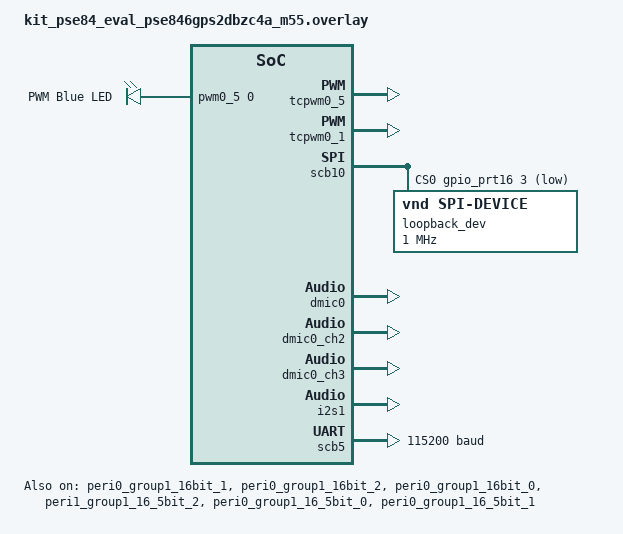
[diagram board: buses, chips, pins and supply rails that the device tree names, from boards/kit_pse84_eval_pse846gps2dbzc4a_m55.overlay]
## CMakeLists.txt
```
# SPDX-FileCopyrightText: Copyright (c) 2026 Infineon Technologies AG,
# SPDX-FileCopyrightText: or an affiliate of Infineon Technologies AG. All rights reserved.
#
# SPDX-License-Identifier: Apache-2.0

cmake_minimum_required(VERSION 3.20.0)
find_package(Zephyr REQUIRED HINTS $ENV{ZEPHYR_BASE})
project(low_power_modes)

target_sources(app PRIVATE src/main.c)
target_sources(app PRIVATE src/main_dut.c)
```

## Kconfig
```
# SPDX-FileCopyrightText: Copyright (c) 2026 Infineon Technologies AG,
# SPDX-FileCopyrightText: or an affiliate of Infineon Technologies AG. All rights reserved.
#
# SPDX-License-Identifier: Apache-2.0

mainmenu "Infineon low-power modes sample"

# The sample builds a single device-under-test (DUT) image that drives the
# power-management sequence. APP_DEEP_MODES gates the deeper phases.

config APP_ROLE_DUT
	bool "Build the device-under-test application"
	default y
	help
	  Build main_dut.c: the application that drives the power-management test
	  sequence.

config APP_DEEP_MODES
	bool "Exercise the retained and power-down deep sleep modes"
	depends on APP_ROLE_DUT
	help
	  Run the DeepSleep-RAM, DeepSleep-OFF and hibernate phases in addition to
	  regular DeepSleep. Leave disabled on targets whose SoC power management
	  only implements regular DeepSleep.

source "Kconfig.zephyr"
```

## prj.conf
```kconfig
# SPDX-FileCopyrightText: Copyright (c) 2026 Infineon Technologies AG,
# SPDX-FileCopyrightText: or an affiliate of Infineon Technologies AG. All rights reserved.
#
# SPDX-License-Identifier: Apache-2.0

# Board-specific settings live in the per-board files under boards/.
CONFIG_GPIO=y
CONFIG_PM=y
```

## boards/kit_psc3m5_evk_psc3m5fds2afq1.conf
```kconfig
# SPDX-FileCopyrightText: Copyright (c) 2026 Infineon Technologies AG,
# SPDX-FileCopyrightText: or an affiliate of Infineon Technologies AG. All rights reserved.
#
# SPDX-License-Identifier: Apache-2.0

# The S2RAM resume path rebuilds the devices from the idle thread.
CONFIG_IDLE_STACK_SIZE=2048
# Exercise DS-RAM, DS-OFF, Hibernate
CONFIG_APP_DEEP_MODES=y
```

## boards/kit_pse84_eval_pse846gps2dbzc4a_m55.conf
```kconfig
# SPDX-FileCopyrightText: Copyright (c) 2026 Infineon Technologies AG,
# SPDX-FileCopyrightText: or an affiliate of Infineon Technologies AG. All rights reserved.
#
# SPDX-License-Identifier: Apache-2.0

# CM55 DUT configuration for the low-power modes sample.  The CM33-NS (TF-M)
# companion built from this same sample uses only the common settings in
# prj.conf.
CONFIG_PM_DEVICE=y
# Device runtime PM is enabled automatically by every transaction driver in this
# sample (I2C, SPI, DMIC, I2S, SDHC): each takes a pm_device_runtime_get/put
# reference around its active window, so the peripheral is reference counted per
# transaction instead of being frozen by the system-managed policy. The second
# UART instance (SCB5) opts in per node via zephyr,pm-device-runtime-auto and
# takes a reference around its interrupt-driven TX/RX sessions. Free-running or
# always-on peripherals (PWM, counter, UART console) do not call runtime
# get/put and remain system managed.
CONFIG_PM_DEVICE_RUNTIME=y
# System-managed device PM defaults to disabled once PM_DEVICE_RUNTIME is set
# (Kconfig: "default y if !PM_DEVICE_RUNTIME"). The non-runtime peripherals in
# this sample still rely on it, so without this the PM subsystem never calls
# their SUSPEND/RESUME pm_action around a regular (retained) DeepSleep.
CONFIG_PM_DEVICE_SYSTEM_MANAGED=y
CONFIG_POWEROFF=y
CONFIG_PWM=y
CONFIG_COUNTER=y
CONFIG_SPI=y
CONFIG_I2C=y
CONFIG_DMA=y
CONFIG_AUDIO=y
CONFIG_AUDIO_DMIC=y
CONFIG_I2S=y
CONFIG_SDHC=y

# Second UART instance (SCB5) loopback self-test uses the interrupt-driven API
# to drive the UART driver's restricted-scope device runtime PM get/put paths.
CONFIG_UART_INTERRUPT_DRIVEN=y

# The suspend-to-RAM (DS-RAM) entry path runs on the idle thread stack and is
# far deeper than a plain WFI idle: ifx_pm_s2ram_enter() saves FPU/SCB/MPU/NVIC
# context and calls arch_pm_s2ram_suspend(). The default 320-byte idle stack
# overflows (K_ERR_STACK_CHK_FAIL). Enlarge it so the S2RAM path fits.
CONFIG_IDLE_STACK_SIZE=2048

# The MXCRYPTO block (hardware crypto + TRNG entropy) is owned by the TF-M
# secure world on this device. Under the manual mcuboot -> TF-M -> CM33-NS ->
# CM55 topology, TF-M grants the peripheral to the CM33-NS master but not to
# the CM55 (APPCPU) master, so a non-secure register access from the CM55
# (Cy_Crypto_Core_Enable at PRE_KERNEL_1) triggers a PPC/bus fault and resets
# the SoC in an endless MCUboot reboot loop. The board defconfig enables this
# stack by default; this sample does not use hardware crypto, so disable the
# whole MXCRYPTO crypto/entropy/MFD stack on the CM55 image. A non-secure app
# needing crypto or entropy should use PSA APIs routed through TF-M instead.
CONFIG_MFD_INFINEON_MXCRYPTO=n
CONFIG_CRYPTO_INFINEON_MXCRYPTO=n
CONFIG_ENTROPY_INFINEON_MXCRYPTO_TRNG=n
```

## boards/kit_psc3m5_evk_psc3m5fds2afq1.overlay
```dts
/*
 * SPDX-FileCopyrightText: Copyright (c) 2026 Infineon Technologies AG,
 * SPDX-FileCopyrightText: or an affiliate of Infineon Technologies AG. All rights reserved.
 *
 * SPDX-License-Identifier: Apache-2.0
 */

/*
 * Arm the Hibernate wake source: the SoC power management reads this node at
 * init, enables the input buffer on the armed pad and programs the SRSS wake
 * registers. PIN0 is P2.0 (SW2), pressed low; PIN1 is left unarmed.
 */
&hibernate_wakeup {
	status = "okay";
	wakeup-pin0-trigger = "low";
};

/*
 * Enabling this node selects CONFIG_PM_S2RAM through its "suspend-to-ram"
 * power-state-name. Its default 2 s min-residency equals the sample's sleep
 * window, so lower it here for the state to engage reliably.
 */
&deepsleep_ram {
	status = "okay";
	min-residency-us = <500000>;
};
```

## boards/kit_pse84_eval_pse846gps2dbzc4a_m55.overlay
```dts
/*
 * SPDX-FileCopyrightText: Copyright (c) 2026 Infineon Technologies AG,
 * SPDX-FileCopyrightText: or an affiliate of Infineon Technologies AG. All rights reserved.
 *
 * SPDX-License-Identifier: Apache-2.0
 */

#include <zephyr/dt-bindings/pwm/pwm.h>
#include <zephyr/dt-bindings/gpio/gpio.h>
#include <zephyr/dt-bindings/clock/ifx_clock_source_common.h>

/ {
	aliases {
		pwm-led0 = &pwm_led_blue;
		counter0 = &counter0_1;
		spi-loopback = &spi10;
		dmic0 = &dmic0;
		i2s-tx = &i2s1;
		uart-test = &uart5;
	};

	/* SW2 (P8.3, active low) is wired to dedicated hibernate wake PIN1.
	 * Describe it here so the SoC arms PIN1 as the hibernate wakeup source at
	 * boot; the application still owns the pad through the GPIO driver.
	 */
	hibernate_wakeup: hibernate-wakeup {
		compatible = "infineon,hibernate-wakeup";
		wakeup-pin1-trigger = "low";
	};

	pwmleds {
		compatible = "pwm-leds";

		pwm_led_blue: pwm_led_blue {
			label = "PWM Blue LED";
			pwms = <&pwm0_5 0 PWM_MSEC(500) PWM_POLARITY_NORMAL>;
		};
	};
};

/* DeepSleep-RAM is disabled by default in the SoC devicetree so a plain
 * application only sees runtime-idle and regular DeepSleep.  This sample
 * exercises the suspend-to-RAM warm-boot path, so re-enable the state here.
 */
&deepsleep_ram {
	status = "okay";
};

/* Use blue LED (P16.5) as PWM output on TCPWM0_5.
 * During deepsleep, HF clocks stop and the PWM output freezes.
 * This provides a visual indicator of deepsleep entry.
 */
&tcpwm0_5 {
	status = "okay";

	pwm0_5: pwm0_5 {
		clocks = <&peri0_group1_16bit_1>;
		compatible = "infineon,tcpwm-pwm";
		status = "okay";
		pinctrl-0 = <&p16_5_pwm0_5>;
		pinctrl-names = "default";
	};
};

&p16_5_pwm0_5 {
	drive-push-pull;
};

&peri0_group1_16bit_1 {
	status = "okay";
	/* 400 MHz HF / 400 = 1 MHz PWM input clock.
	 * With a 32-bit counter and period = 500000, gives 2 Hz blink.
	 */
	clock-div = <400>;
};

/* Free-running 16-bit TCPWM counter used to demonstrate that the counter
 * driver's pm_action restarts the counter after regular DeepSleep.  The
 * counter stops while HF clocks are gated during DeepSleep and resumes
 * counting on wake via the device PM resume callback.
 */
&tcpwm0_1 {
	status = "okay";

	counter0_1 {
		status = "okay";
		clocks = <&peri0_group1_16bit_2>;
	};
};

&peri0_group1_16bit_2 {
	status = "okay";
	/* 400 MHz HF / 4000 = 100 kHz counter input clock. */
	clock-div = <4000>;
};

/* SPI loopback on SCB10: jumper P16.1 (MOSI) to P16.2 (MISO).
 * Exercises the SPI driver's pm_action across DeepSleep: after a regular
 * DeepSleep the SCB config is retained, and after a DeepSleep-RAM warm boot
 * the resume callback re-applies pinctrl / clock divider / CS GPIO and forces
 * the next transfer to re-init the block, so the loopback still matches.
 */
spi10: &scb10 {
	#address-cells = <1>;
	#size-cells = <0>;
	compatible = "infineon,spi";
	status = "okay";

	pinctrl-0 = <&p16_1_scb10_spi_m_mosi &p16_2_scb10_spi_m_miso &p16_0_scb10_spi_m_clk>;
	pinctrl-names = "default";
	cs-gpios = <&gpio_prt16 3 GPIO_ACTIVE_LOW>;

	/* i2c0 already uses peri0_group1_16bit_3, so use a separate divider. */
	clocks = <&peri0_group1_16bit_0>;

	loopback_dev: loopback@0 {
		compatible = "vnd,spi-device";
		reg = <0>;
		spi-max-frequency = <1000000>;
	};
};

&peri0_group1_16bit_0 {
	status = "okay";
};

&p16_1_scb10_spi_m_mosi {
	drive-strength = "full";
	drive-push-pull;
};

&p16_2_scb10_spi_m_miso {
	drive-strength = "full";
	input-enable;
};

&p16_0_scb10_spi_m_clk {
	drive-strength = "full";
	drive-push-pull;
};

/* PDM/PCM microphone on PDM3 (P8.5 clk, P8.6 data) routed through DMA0 ch0.
 * Exercises the DMIC driver's pm_action: a regular DeepSleep is refused while
 * a capture is active (so audio is never corrupted mid-stream), and a
 * DeepSleep-RAM warm boot re-initializes the PDM block via the resume
 * callback.  The DMA driver's pm_action re-enables the DMA controller on the
 * same warm-boot path so the next capture can reprogram its channel.
 */
&dmic0 {
	pinctrl-0 = <&p8_5_pdm3_pdm_clk &p8_6_pdm3_pdm_data>;
	pinctrl-names = "default";
	clocks = <&peri1_group1_16_5bit_2>;
	status = "okay";

	dmas = <&dma0 0>;
	dma-names = "rx";
};

&dmic0_ch2 {
	status = "okay";
	use-alt-io;
};

&dmic0_ch3 {
	status = "okay";
};

&dma0 {
	status = "okay";
};

&clk_hf7 {
	status = "okay";
	source-path = <IFX_CLK_HF_IN_CLKPATH3>;
};

&peri1_group1_16_5bit_2 {
	status = "okay";
	clock-div = <2>;
	div-frac-value = <7>;
};

&p8_5_pdm3_pdm_clk {
	drive-strength = "half";
	drive-push-pull;
};

&p8_6_pdm3_pdm_data {
	drive-strength = "half";
	input-enable;
};

/* I2S transmitter on TDM I2S1 (P11.0 tx_sck, P11.1 tx_fsync, P11.2 tx_sd)
 * driven by DMA0 channel 1.  Configured as controller so it generates its own
 * bit and frame clocks and can stream out without an external codec.
 *
 * Exercises the I2S driver's pm_action: a regular DeepSleep is refused while a
 * transmit stream is active (so audio is never corrupted mid-stream), and a
 * DeepSleep-RAM warm boot re-initializes the TDM block via the resume callback.
 * The DMA driver's pm_action re-enables the DMA controller on the same
 * warm-boot path so the next transfer can reprogram its channel.
 */
&i2s1 {
	pinctrl-0 = <&p11_0_tdm_i2s1_tx_sck &p11_1_tdm_i2s1_tx_fsync &p11_2_tdm_i2s1_tx_sd>;
	pinctrl-names = "default";
	clocks = <&peri0_group1_16_5bit_0>;
	status = "okay";

	dmas = <&dma0 1>;
	dma-names = "tx";
};

&peri0_group1_16_5bit_0 {
	status = "okay";
	/* 400 MHz HF / 40 = 10 MHz I2S source clock.  The driver derives the
	 * TDM bit-clock divider from this for the requested sample rate.
	 */
	clock-div = <40>;
};

&p11_0_tdm_i2s1_tx_sck {
	drive-strength = "full";
	drive-push-pull;
};

&p11_1_tdm_i2s1_tx_fsync {
	drive-strength = "full";
	drive-push-pull;
};

&p11_2_tdm_i2s1_tx_sd {
	drive-strength = "full";
	drive-push-pull;
};

/* Second UART instance on SCB5 (P17.1 TX, P17.0 RX) used purely to exercise the
 * UART driver's restricted-scope device runtime PM.  The console stays on its
 * own separate UART; this instance opts in to runtime management via the
 * zephyr,pm-device-runtime-auto property, so the interrupt-driven TX/RX enable
 * paths take a pm_device_runtime_get() reference and the disable paths drop it,
 * letting the block be runtime suspended between transfers.  poll_out() is
 * deliberately never instrumented, which is why the console UART is left
 * unmanaged.
 *
 * Loopback needs a physical jumper from P17.1 (TX) to P17.0 (RX): the SCB UART
 * driver has no internal loopback.  The interrupt-driven API is used (no DMA)
 * so this test never competes with the DMIC/I2S DMA channels.
 */
uart5: &scb5 {
	compatible = "infineon,uart";
	status = "okay";
	current-speed = <115200>;
	zephyr,pm-device-runtime-auto;

	/* The driver derives the real clock divider from the target baud, so the
	 * clock-div on the divider node below is only an initial placeholder.  A
	 * dedicated 16.5-bit channel is used so it never collides with the other
	 * peripherals in this overlay.
	 */
	clocks = <&peri0_group1_16_5bit_1>;

	pinctrl-0 = <&p17_1_scb5_uart_tx &p17_0_scb5_uart_rx>;
	pinctrl-names = "default";
};

&peri0_group1_16_5bit_1 {
	status = "okay";
};

&p17_1_scb5_uart_tx {
	drive-push-pull;
};

&p17_0_scb5_uart_rx {
	input-enable;
};
```

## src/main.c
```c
/*
 * SPDX-FileCopyrightText: Copyright (c) 2026 Infineon Technologies AG,
 * SPDX-FileCopyrightText: or an affiliate of Infineon Technologies AG. All rights reserved.
 *
 * SPDX-License-Identifier: Apache-2.0
 */

#include <zephyr/kernel.h>

/*
 * app_main (from main_dut.c) runs in a dedicated worker thread: its deep DS-RAM
 * entry path and large on-stack driver-config structs need more than the
 * default main stack.
 */
#define APP_THREAD_STACK_SIZE 8192
#define APP_THREAD_PRIORITY   5

void app_main(void);

K_THREAD_STACK_DEFINE(app_thread_stack, APP_THREAD_STACK_SIZE);
static struct k_thread app_thread;

static void app_thread_entry(void *p1, void *p2, void *p3)
{
	ARG_UNUSED(p1);
	ARG_UNUSED(p2);
	ARG_UNUSED(p3);

	app_main();
}

int main(void)
{
	k_thread_create(&app_thread, app_thread_stack, K_THREAD_STACK_SIZEOF(app_thread_stack),
			app_thread_entry, NULL, NULL, NULL, APP_THREAD_PRIORITY, 0, K_NO_WAIT);

	return 0;
}
```

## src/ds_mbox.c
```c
/*
 * SPDX-FileCopyrightText: Copyright (c) 2026 Infineon Technologies AG,
 * SPDX-FileCopyrightText: or an affiliate of Infineon Technologies AG. All rights reserved.
 *
 * SPDX-License-Identifier: Apache-2.0
 */

#include <errno.h>
#include <zephyr/kernel.h>
#include <zephyr/irq.h>
#include <soc.h>
#include <cy_ipc_drv.h>

#include "ds_mbox.h"

/* SRF owns MTB_IPC_CHAN_0 (CY_IPC_CHAN_USER) and interrupt structs
 * CY_IPC_INTR_USER..+3, so the DeepSleep mailbox uses the next free user
 * channel and interrupt structure.  Both cores agree on these numbers.
 */
#define DS_MBOX_IPC_CHAN (CY_IPC_CHAN_USER + 1U)
#define DS_MBOX_IPC_INTR (CY_IPC_INTR_USER + 4U)

#if defined(CONFIG_APP_COMPANION_MBOX)

#define DS_MBOX_NOTIFY_MASK  CY_IPC_INTR_MASK(DS_MBOX_IPC_INTR)
#define DS_MBOX_SEND_RETRIES 10U

void ds_mbox_send(uint32_t mode)
{
	IPC_STRUCT_Type *ipc = Cy_IPC_Drv_GetIpcBaseAddress(DS_MBOX_IPC_CHAN);
	cy_en_ipcdrv_status_t st = CY_IPC_DRV_ERROR;
	uint32_t retries = DS_MBOX_SEND_RETRIES;

	/* SendMsgWord acquires the channel lock, writes the command word and
	 * raises the CM33-NS notify interrupt.  If the CM33 has not yet released
	 * a previous message the channel is still locked, so retry briefly.
	 */
	do {
		st = Cy_IPC_Drv_SendMsgWord(ipc, DS_MBOX_NOTIFY_MASK, mode);
		if (st == CY_IPC_DRV_SUCCESS) {
			break;
		}
		k_busy_wait(1000);
	} while (--retries > 0U);

	if (st == CY_IPC_DRV_SUCCESS) {
		printk("DS mbox: sent mode=%u to CM33-NS\n", (unsigned int)mode);
	} else {
		printk("DS mbox: send failed (%d)\n", (int)st);
	}
}

#endif /* CONFIG_APP_COMPANION_MBOX */

#if defined(CONFIG_APP_ROLE_COMPANION)

#define DS_MBOX_CH_MASK CY_IPC_CH_MASK(DS_MBOX_IPC_CHAN)

/* Latch a DeepSleep request from the mailbox ISR so the blink loop enters the
 * requested low-power mode at its next wait point.  The SW0 wake source is armed
 * by the CM55 controller, so this core only reacts to the mailbox command.
 */
static K_SEM_DEFINE(ds_off_req_sem, 0, 1);

/* Low-power mode requested by the last mailbox message; defaults to DS-RAM so
 * an SW0 press before any CM55 command still uses the previous behavior.
 */
static volatile uint32_t ds_mbox_mode = DS_MBOX_CMD_DS_RAM;

static void ds_mbox_isr(const void *arg)
{
	IPC_INTR_STRUCT_Type *intr = Cy_IPC_Drv_GetIntrBaseAddr(DS_MBOX_IPC_INTR);
	IPC_STRUCT_Type *ipc = Cy_IPC_Drv_GetIpcBaseAddress(DS_MBOX_IPC_CHAN);
	uint32_t msg = 0U;

	ARG_UNUSED(arg);

	/* Read the command word the CM55 placed in the channel, latch the
	 * requested mode and wake the blink loop, then release the channel lock
	 * so the sender can reuse it and clear our notify interrupt.
	 */
	if (Cy_IPC_Drv_ReadMsgWord(ipc, &msg) == CY_IPC_DRV_SUCCESS) {
		ds_mbox_mode = msg;
		k_sem_give(&ds_off_req_sem);
	}

	Cy_IPC_Drv_ReleaseNotify(ipc, 0U);
	Cy_IPC_Drv_ClearInterrupt(intr, 0U, DS_MBOX_CH_MASK);
}

void ds_mbox_receiver_init(void)
{
	IPC_INTR_STRUCT_Type *intr = Cy_IPC_Drv_GetIntrBaseAddr(DS_MBOX_IPC_INTR);

	/* Route a notify event on our channel to our interrupt structure. */
	Cy_IPC_Drv_SetInterruptMask(intr, 0U, DS_MBOX_CH_MASK);

	IRQ_CONNECT(CY_IPC_INTR_MUX(DS_MBOX_IPC_INTR), 3, ds_mbox_isr, NULL, 0);
	irq_enable(CY_IPC_INTR_MUX(DS_MBOX_IPC_INTR));
}

int ds_mbox_wait(uint32_t *mode, k_timeout_t timeout)
{
	if (k_sem_take(&ds_off_req_sem, timeout) != 0) {
		return -EAGAIN;
	}

	if (mode != NULL) {
		*mode = ds_mbox_mode;
	}

	return 0;
}

#endif /* CONFIG_APP_ROLE_COMPANION */
```

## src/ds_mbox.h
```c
/*
 * SPDX-FileCopyrightText: Copyright (c) 2026 Infineon Technologies AG,
 * SPDX-FileCopyrightText: or an affiliate of Infineon Technologies AG. All rights reserved.
 *
 * SPDX-License-Identifier: Apache-2.0
 */

#ifndef DS_MBOX_H_
#define DS_MBOX_H_

#include <stdint.h>
#include <zephyr/kernel.h>

/*
 * Inter-core DeepSleep command mailbox (CM55 controller -> CM33-NS companion).
 *
 * A raw Cy_IPC_Drv channel lets the CM55 application command which system
 * low-power mode the CM33-NS core should enter.  SRF owns MTB_IPC_CHAN_0
 * (CY_IPC_CHAN_USER) and interrupt structs CY_IPC_INTR_USER..+3, so the mailbox
 * uses the next free user channel and interrupt structure.  These reservations
 * match soc/infineon/edge/pse84/mtb_ipc_config.h (MTB_IPC_CHANNEL_DS_MBOX /
 * MTB_IPC_IRQ_DS_MBOX).  Both cores include this header and link ds_mbox.c.
 */

/* Command word exchanged over the mailbox channel data register. */
#define DS_MBOX_CMD_DS     0U
#define DS_MBOX_CMD_DS_RAM 1U
#define DS_MBOX_CMD_DS_OFF 2U
#define DS_MBOX_CMD_HIB    3U

#if defined(CONFIG_APP_COMPANION_MBOX)
/* DUT side: post a DeepSleep command word to the companion receiver. */
void ds_mbox_send(uint32_t mode);
#endif /* CONFIG_APP_COMPANION_MBOX */

#if defined(CONFIG_APP_ROLE_COMPANION)
/* Companion side: bring up the mailbox receiver (interrupt + channel mask). */
void ds_mbox_receiver_init(void);

/* Wait up to timeout for a mailbox command.  On success stores the requested
 * command word in *mode and returns 0; returns -EAGAIN on timeout.
 */
int ds_mbox_wait(uint32_t *mode, k_timeout_t timeout);
#endif /* CONFIG_APP_ROLE_COMPANION */

#endif /* DS_MBOX_H_ */
```

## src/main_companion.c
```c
/*
 * SPDX-FileCopyrightText: Copyright (c) 2026 Infineon Technologies AG,
 * SPDX-FileCopyrightText: or an affiliate of Infineon Technologies AG. All rights reserved.
 *
 * SPDX-License-Identifier: Apache-2.0
 */

#include <zephyr/kernel.h>

#if defined(CONFIG_APP_ROLE_COMPANION)
/* CM33 non-secure (TF-M) companion: PM-driven DeepSleep demo that blinks led0
 * and enters the DeepSleep mode requested by the CM55 over the SRF mailbox.
 * Brought over from samples/basic/blinky so this sample builds the CM33 image
 * as well as the CM55 controller.
 */
#include <zephyr/drivers/gpio.h>
#include <string.h>
#include <stdio.h>

#include <cy_syspm.h>
#include <soc.h>
#include <cy_pdl.h>
#include <cy_syslib.h>
#include <cy_syspm_srf.h>
#include <mtb_srf_pool.h>
#include <system_edge.h>

#include "ds_mbox.h"

/* 1000 msec = 1 sec */
#define SLEEP_TIME_MS 1000

/* The devicetree node identifier for the "led0" alias. */
#define LED0_NODE DT_ALIAS(led0)

static const struct gpio_dt_spec led = GPIO_DT_SPEC_GET(LED0_NODE, gpios);

/* Map a mailbox command to the PDL DeepSleep-mode enum. */
static cy_en_syspm_deep_sleep_mode_t ds_cmd_to_cy_mode(uint32_t mode)
{
	switch (mode) {
	case DS_MBOX_CMD_DS:
		return CY_SYSPM_MODE_DEEPSLEEP;
	case DS_MBOX_CMD_DS_OFF:
		return CY_SYSPM_MODE_DEEPSLEEP_OFF;
	case DS_MBOX_CMD_DS_RAM:
	default:
		return CY_SYSPM_MODE_DEEPSLEEP_RAM;
	}
}

/* Mirror of the PDL's private SRF structs (cy_syspm_v4.c).  The dedicated
 * DS-OFF token operation takes the target DeepSleep mode plus a prepare/restore
 * flag and returns a single cy_en_syspm_status_t.
 */
struct ds_srf_dsofftoken_in {
	uint32_t deep_sleep_mode;
	bool restore;
};

struct ds_srf_status_out {
	cy_en_syspm_status_t ret_val;
};

/*
 * Arm (prepare) or undo (restore) the DS-OFF retention token and the
 * SOCMEM/APPCPU power dependencies over the dedicated secure operation.  These
 * writes target secured registers that fault from the non-secure core, so relay
 * them to the secure image - the same prepare/restore the PDL performs inside
 * its CpuEnterDeepSleep relay.  Must run from a context where the SRF/IPC
 * round-trip can complete (interrupts enabled), which is why it is issued here
 * from the blink thread rather than from pm_state_set().
 */
static cy_en_syspm_status_t ds_arm_dsoff_token_srf(uint32_t deep_sleep_mode, bool restore)
{
	mtb_srf_invec_ns_t *in_vec = NULL;
	mtb_srf_outvec_ns_t *out_vec = NULL;
	mtb_srf_output_ns_t *output = NULL;
	struct ds_srf_dsofftoken_in input_args = {
		.deep_sleep_mode = deep_sleep_mode,
		.restore = restore,
	};
	struct ds_srf_status_out output_args = {
		.ret_val = CY_SYSPM_FAIL,
	};
	cy_rslt_t result;

	result = mtb_srf_pool_allocate(&cy_pdl_srf_default_pool, &in_vec, &out_vec,
				       CY_PDL_SYSPM_SRF_POOL_TIMEOUT);
	if (result != CY_RSLT_SUCCESS) {
		return CY_SYSPM_FAIL;
	}

	cy_pdl_invoke_srf_args invoke_args = {
		.inVec = in_vec,
		.outVec = out_vec,
		.output_ptr = &output,
		.op_id = (uint8_t)CY_PDL_SYSPM_OP_SETDSOFFTOKEN,
		.submodule_id = CY_PDL_SECURE_SUBMODULE_SYSPM,
		.base = NULL,
		.sub_block = 0UL,
		.input_base = (uint8_t *)&input_args,
		.input_len = sizeof(input_args),
		.output_base = (uint8_t *)&output_args,
		.output_len = sizeof(output_args),
		.invec_bases = NULL,
		.invec_sizes = 0UL,
		.outvec_bases = NULL,
		.outvec_sizes = 0UL,
	};

	result = _Cy_PDL_Invoke_SRF(&invoke_args);
	if ((result == CY_RSLT_SUCCESS) && (output != NULL)) {
		memcpy(&output_args, &output->output_values[0], sizeof(output_args));
	}

	(void)mtb_srf_pool_free(&cy_pdl_srf_default_pool, in_vec, out_vec);

	return (result == CY_RSLT_SUCCESS) ? output_args.ret_val : CY_SYSPM_FAIL;
}

/* Program every DeepSleep-mode selector this core owns for the requested
 * low-power mode and, for DS-RAM / DS-OFF, arm the retention token and tear
 * down the SOCMEM/APPCPU dependencies over the SRF.  Everything here relays to
 * the secure image, so it must run from thread context (interrupts enabled);
 * pm_state_set() runs interrupt-masked and only issues the local WFI.
 */
static void ds_apply_mode(uint32_t mode)
{
	cy_en_syspm_deep_sleep_mode_t cy_mode = ds_cmd_to_cy_mode(mode);

	Cy_SysPm_DeepSleepSetup(cy_mode);
	Cy_SysPm_SetSysDeepSleepMode(cy_mode);
	Cy_SysPm_SetAppDeepSleepMode(cy_mode);

	/* Regular DeepSleep needs neither the token nor the PDCM teardown. */
	if ((cy_mode == CY_SYSPM_MODE_DEEPSLEEP_RAM) || (cy_mode == CY_SYSPM_MODE_DEEPSLEEP_OFF)) {
		(void)ds_arm_dsoff_token_srf((uint32_t)cy_mode, false);
	}
}

static int cm33_blinky_main(void)
{
	int ret;

	if (!gpio_is_ready_dt(&led)) {
		return 0;
	}

	ret = gpio_pin_configure_dt(&led, GPIO_OUTPUT_ACTIVE);
	if (ret < 0) {
		return 0;
	}

	/* Bring up the CM55 -> CM33-NS DeepSleep command mailbox; the CM55
	 * controller requests the low-power mode and owns the SW0 wake source.
	 */
	ds_mbox_receiver_init();

	while (1) {
		uint32_t mode = 0U;

		ret = gpio_pin_toggle_dt(&led);
		if (ret < 0) {
			return 0;
		}

		/* CM33 non-secure requires the IPC to request the CM33 secure code
		 * to enter deep-sleep. Therefore regular k_msleep() cannot be used
		 * for this purpose. ds_mbox_wait() blocks for one blink period.
		 * If the CM55 commanded a mode, apply it and enter DeepSleep.
		 */
		if (ds_mbox_wait(&mode, K_MSEC(SLEEP_TIME_MS)) == 0) {
			/* Hibernate is a system-wide SRSS power-off driven by the
			 * CM55 with no inter-CPU handshake.  The companion must stay
			 * active: entering a DeepSleep mode here drives the shared
			 * SRSS/PDCM power state into retention and blocks the CM55
			 * Hibernate from powering the chip down.
			 */
			if (mode != DS_MBOX_CMD_HIB) {
				ds_apply_mode(mode);
				(void)Cy_SysPm_CpuEnterDeepSleep(CY_SYSPM_WAIT_FOR_INTERRUPT);
				SCB_SCR &= (uint32_t)~SCB_SCR_SLEEPDEEP_Msk;
			}
		}
	}

	return 0;
}

/* Application entry for the CM33-NS companion.  Invoked from the shared worker
 * thread in main.c.
 */
void app_main(void)
{
	(void)cm33_blinky_main();
}

#endif /* CONFIG_APP_ROLE_COMPANION */
```

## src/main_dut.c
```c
/*
 * SPDX-FileCopyrightText: Copyright (c) 2026 Infineon Technologies AG,
 * SPDX-FileCopyrightText: or an affiliate of Infineon Technologies AG. All rights reserved.
 *
 * SPDX-License-Identifier: Apache-2.0
 */

#include <zephyr/kernel.h>

#if defined(CONFIG_APP_ROLE_DUT)

#include <zephyr/drivers/gpio.h>
#include <zephyr/pm/pm.h>
#include <zephyr/pm/policy.h>

#include <soc.h>

#define MAIN_SLEEP_TIME_MS 2000

/* Idle window after which the displayed terminal mode is entered. */
#define TERMINAL_SELECT_TIMEOUT_MS 2000

#define SW0_NODE DT_ALIAS(sw0)
#if !DT_NODE_HAS_STATUS(SW0_NODE, okay)
#error "Unsupported board: sw0 devicetree alias is not defined"
#endif
static const struct gpio_dt_spec button = GPIO_DT_SPEC_GET(SW0_NODE, gpios);
static struct gpio_callback button_cb_data;

/* Only a dedicated wake pad can wake from Hibernate, and it must be a digital
 * input for its buffer to reach the always-on wake detector.
 */
#define SW1_NODE DT_ALIAS(sw1)
#if DT_NODE_HAS_STATUS(SW1_NODE, okay)
static const struct gpio_dt_spec hib_wake = GPIO_DT_SPEC_GET(SW1_NODE, gpios);
#endif

/* Signalled from the button ISR; used to toggle the terminal mode selection. */
K_SEM_DEFINE(button_sem, 0, 1);

static uint32_t sleep_count;
static uint32_t deepsleep_count;
static uint32_t deepsleep_ram_count;

static void pm_notifier_entry(enum pm_state state)
{
	switch (state) {
	case PM_STATE_RUNTIME_IDLE:
		sleep_count++;
		break;
	case PM_STATE_SUSPEND_TO_IDLE:
		deepsleep_count++;
		break;
	case PM_STATE_SUSPEND_TO_RAM:
		deepsleep_ram_count++;
		break;
	default:
		break;
	}
}

static struct pm_notifier pm_notif = {
	.state_entry = pm_notifier_entry,
};

static void button_pressed(const struct device *dev, struct gpio_callback *cb, uint32_t pins)
{
	printk("Button pressed at %" PRIu32 "\n", k_cycle_get_32());
	k_sem_give(&button_sem);
}

static void print_pm_counts(void)
{
	printk("Sleep: %u | Deepsleep: %u | Deepsleep-RAM: %u\n", sleep_count, deepsleep_count,
	       deepsleep_ram_count);
}

/* PM entry count for a deep state, used to confirm it actually engaged. */
static uint32_t pm_state_entry_count(enum pm_state state)
{
	switch (state) {
	case PM_STATE_SUSPEND_TO_IDLE:
		return deepsleep_count;
	case PM_STATE_SUSPEND_TO_RAM:
		return deepsleep_ram_count;
	default:
		return 0;
	}
}

/* Run one retained/warm-boot mode (DeepSleep or DeepSleep-RAM): unlock its PM
 * policy state, sleep once, then restore the lock so the next mode starts from
 * a known state.
 */
static void run_retained_mode_test(enum pm_state test_state, const char *name)
{
	uint32_t entries_before = pm_state_entry_count(test_state);
	uint32_t t0;
	uint32_t t1;

	printk("Phase 2: exercising %s\n", name);

	pm_policy_state_lock_put(test_state, PM_ALL_SUBSTATES);

	t0 = k_uptime_get_32();
	k_msleep(MAIN_SLEEP_TIME_MS);
	t1 = k_uptime_get_32();

	/* The SoC's resume path has already rebuilt the console UART. */
	printk("Phase 2: woke after %u ms\n", t1 - t0);
	print_pm_counts();

	/* An unchanged count means the policy fell back to a shallower state. */
	if (pm_state_entry_count(test_state) == entries_before) {
		printk("Phase 2: WARNING - %s did not engage\n", name);
	}

	pm_policy_state_lock_get(test_state, PM_ALL_SUBSTATES);
	k_msleep(MAIN_SLEEP_TIME_MS);
}

#if defined(CONFIG_APP_DEEP_MODES)

/* Terminal power-down mode, toggled by the button. */
static bool terminal_is_hibernate;

static const char *terminal_mode_name(void)
{
	return terminal_is_hibernate ? "Hibernate" : "DeepSleep-OFF";
}

/* Powers the CPU domain down; wake is a cold boot, so this does not return on
 * success.
 */
static void run_ds_off_mode(void)
{
	printk("Phase 2: entering DeepSleep-OFF. Press the button to wake/reset.\n");

	pm_state_set(PM_STATE_SOFT_OFF, 1);

	__enable_irq();
	printk("Phase 2: DeepSleep-OFF did not engage\n");
}

/* Powers the whole chip down. The SoC arms the wake source from the devicetree
 * hibernate-wakeup node, so only the pad itself is configured here.
 */
static void run_hibernate_mode(void)
{
	printk("Phase 2: entering hibernate. Press the wake button to wake/reset.\n");

#if DT_NODE_HAS_STATUS(SW1_NODE, okay)
	if (gpio_is_ready_dt(&hib_wake) && (gpio_pin_configure_dt(&hib_wake, GPIO_INPUT) != 0)) {
		printk("Error: failed to configure hibernate wake pin %d\n", hib_wake.pin);
	}
#endif

	pm_state_set(PM_STATE_SOFT_OFF, 0);

	__enable_irq();
	printk("Phase 2: Hibernate did not engage\n");
}

/* Each button press toggles the terminal mode; the displayed one is entered
 * after TERMINAL_SELECT_TIMEOUT_MS without a press, which ends the run.
 */
static void run_terminal_mode(void)
{
	printk("Phase 2: press the button to toggle the terminal mode "
	       "(entered after %d ms idle)\n",
	       TERMINAL_SELECT_TIMEOUT_MS);
	printk("Phase 2: terminal mode = %s\n", terminal_mode_name());

	/* Ignore any press latched during the earlier tests. */
	k_sem_reset(&button_sem);

	while (k_sem_take(&button_sem, K_MSEC(TERMINAL_SELECT_TIMEOUT_MS)) == 0) {
		terminal_is_hibernate = !terminal_is_hibernate;
		printk("Phase 2: terminal mode = %s\n", terminal_mode_name());
	}

	if (terminal_is_hibernate) {
		run_hibernate_mode();
	} else {
		run_ds_off_mode();
	}
}

#endif /* CONFIG_APP_DEEP_MODES */

static void test_pm(void)
{
	int ret;

	if (!gpio_is_ready_dt(&button)) {
		printk("Error: button device %s is not ready\n", button.port->name);
		return;
	}
	ret = gpio_pin_configure_dt(&button, GPIO_INPUT);
	if (ret != 0) {
		printk("Error %d: failed to configure %s pin %d\n", ret, button.port->name,
		       button.pin);
		return;
	}
	ret = gpio_pin_interrupt_configure_dt(&button, GPIO_INT_EDGE_TO_ACTIVE);
	if (ret != 0) {
		printk("Error %d: failed to configure interrupt on %s pin %d\n", ret,
		       button.port->name, button.pin);
		return;
	}
	gpio_init_callback(&button_cb_data, button_pressed, BIT(button.pin));
	gpio_add_callback(button.port, &button_cb_data);

	pm_notifier_register(&pm_notif);

	/* Phase 1: runtime-idle only (WFI, clocks running); DeepSleep is locked out. */
	pm_policy_state_lock_get(PM_STATE_SUSPEND_TO_IDLE, PM_ALL_SUBSTATES);
	pm_policy_state_lock_get(PM_STATE_SUSPEND_TO_RAM, PM_ALL_SUBSTATES);

	printk("Phase 1: runtime-idle only\n");
	k_msleep(MAIN_SLEEP_TIME_MS);
	print_pm_counts();

	printk("Phase 2: run each low-power mode in sequence\n");

	/* DeepSleep and DeepSleep-RAM return in-session, so run them back to back. */
	run_retained_mode_test(PM_STATE_SUSPEND_TO_IDLE, "DeepSleep");

#if defined(CONFIG_APP_DEEP_MODES)
	run_retained_mode_test(PM_STATE_SUSPEND_TO_RAM, "DeepSleep-RAM");

	/* The terminal mode powers the SoC down and ends the run. */
	run_terminal_mode();
#else
	printk("Phase 2: DeepSleep-RAM and terminal power-down skipped "
	       "(regular DeepSleep only)\n");
#endif /* CONFIG_APP_DEEP_MODES */

	printk("Sequence complete\n");
}

/* DUT entry, invoked from the worker thread in main.c. */
void app_main(void)
{
	test_pm();
}

#endif /* CONFIG_APP_ROLE_DUT */
```

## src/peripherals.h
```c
/*
 * SPDX-FileCopyrightText: Copyright (c) 2026 Infineon Technologies AG,
 * SPDX-FileCopyrightText: or an affiliate of Infineon Technologies AG. All rights reserved.
 *
 * SPDX-License-Identifier: Apache-2.0
 */

#ifndef PERIPHERALS_H_
#define PERIPHERALS_H_

#include <stdint.h>

/*
 * Optional peripheral self-tests for the DUT. Each peripheral is guarded by its
 * devicetree presence in peripherals.c, so absent peripherals compile out and
 * this sample can target other Infineon boards.
 */

/* Configure every present peripheral and run its baseline self-test. Call once
 * before the low-power sequence.
 */
void peripherals_setup(void);

/* Read the free-running counter used to observe clock gating; 0 if absent. */
uint32_t peripherals_counter_read(void);

/* Re-run every present peripheral's self-test after a wake. @p phase is the mode
 * name printed with each result.
 */
void peripherals_test_after_wake(const char *phase);

#endif /* PERIPHERALS_H_ */
```
